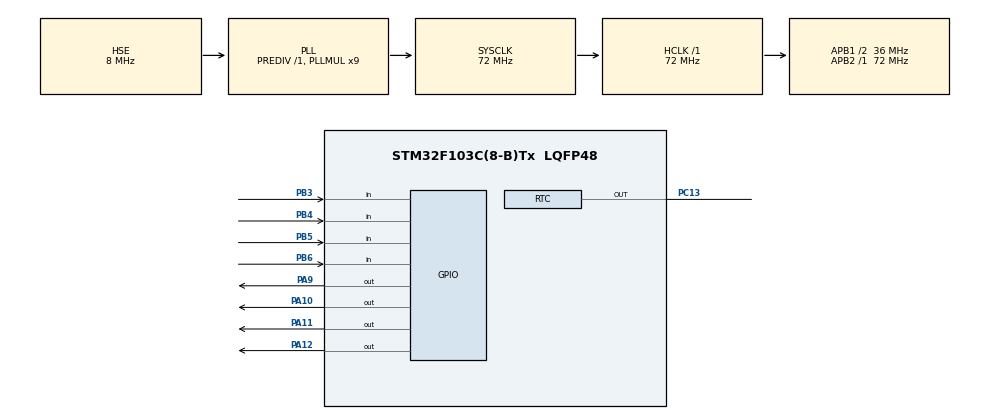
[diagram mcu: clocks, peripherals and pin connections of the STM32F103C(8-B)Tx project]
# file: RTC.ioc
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Mcu.Family=STM32F1
Mcu.Name=STM32F103C(8-B)Tx
Mcu.Package=LQFP48
NVIC.PriorityGroup=NVIC_PRIORITYGROUP_4
PA10.Signal=GPIO_Output
PA11.Signal=GPIO_Output
PA12.Signal=GPIO_Output
PA13.Mode=Serial_Wire
PA13.Signal=SYS_JTMS-SWDIO
PA14.Mode=Serial_Wire
PA14.Signal=SYS_JTCK-SWCLK
PA9.Signal=GPIO_Output
PB3.GPIO_PuPd=GPIO_PULLUP
PB3.Signal=GPIO_Input
PB4.GPIO_PuPd=GPIO_PULLUP
PB4.Signal=GPIO_Input
PB5.GPIO_PuPd=GPIO_PULLUP
PB5.Signal=GPIO_Input
PB6.GPIO_PuPd=GPIO_PULLUP
PB6.Signal=GPIO_Input
PC13-TAMPER-RTC.Mode=RTC OUT
PC13-TAMPER-RTC.Signal=RTC_OUT
PC14-OSC32_IN.Mode=LSE-External-Oscillator
PC14-OSC32_IN.Signal=RCC_OSC32_IN
PC15-OSC32_OUT.Mode=LSE-External-Oscillator
PC15-OSC32_OUT.Signal=RCC_OSC32_OUT
PD0-OSC_IN.Mode=HSE-External-Oscillator
PD0-OSC_IN.Signal=RCC_OSC_IN
PD1-OSC_OUT.Mode=HSE-External-Oscillator
PD1-OSC_OUT.Signal=RCC_OSC_OUT
ProjectManager.HeapSize=0x200
ProjectManager.StackSize=0x400
ProjectManager.TargetToolchain=STM32CubeIDE
RCC.AHBFreq_Value=72000000
RCC.APB1CLKDivider=RCC_HCLK_DIV2
RCC.APB1Freq_Value=36000000
RCC.APB1TimFreq_Value=72000000
RCC.APB2Freq_Value=72000000
RCC.APB2TimFreq_Value=72000000
RCC.HCLKFreq_Value=72000000
RCC.PLLMUL=RCC_PLL_MUL9
RCC.PLLSourceVirtual=RCC_PLLSOURCE_HSE
RCC.RTCClockSelection=RCC_RTCCLKSOURCE_HSE_DIV128
RCC.SYSCLKFreq_VALUE=72000000
RCC.SYSCLKSource=RCC_SYSCLKSOURCE_PLLCLK
RCC.USBFreq_Value=72000000
RTC.AsynchPrediv=RTC_AUTO_1_SECOND
RTC.AutoPrediv=RTC_AUTO_1_SECOND
RTC.Hours=0
RTC.Hours_A-RTC\ OUT=0
RTC.Minutes=0
RTC.Minutes_A-RTC\ OUT=0
VP_RTC_VS_RTC_Activate.Mode=RTC_Enabled
VP_RTC_VS_RTC_Calendar.Mode=RTC_Calendar
board=custom

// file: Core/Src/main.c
/* USER CODE BEGIN Header */
/**
  ******************************************************************************
  * @file           : main.c
  * @brief          : Main program body
  ******************************************************************************
  * @attention
  *
  * Copyright (c) 2023 STMicroelectronics.
  * All rights reserved.
  *
  * This software is licensed under terms that can be found in the LICENSE file
  * in the root directory of this software component.
  * If no LICENSE file comes with this software, it is provided AS-IS.
  *
  ******************************************************************************
  */
/* USER CODE END Header */
#include "main.h"
#include "rtc.h"
#include "gpio.h"

/* USER CODE BEGIN Includes */

#include <stdio.h>
#include "RCC_interface.h"
#include "GPIO_interface.h"
#include "LCD_interface.h"
#include "KEYPAD_interface.h"

/* USER CODE END Includes */

/* USER CODE BEGIN PM */

RTC_DateTypeDef gDate;
RTC_TimeTypeDef gTime;

uint8_t keypadVal = NOTPRESSED;

extern RCC_Config_t RCC_obj;
extern chr_lcd_4bit_t lcd_1;
extern chr_lcd_4bit_t keypad_1;

char time[10];
char date[10];

volatile int TotalHours=0;
volatile int CurrentSec=0;
volatile int CurrentMin=0;
volatile int TotalDays=0;

volatile uint8_t IntialMinuts = 0x00;
volatile uint8_t IntialSeconds = 0x06;
volatile uint8_t IntialHours = 0;

#define Counter_1	8
#define Counter_2	12

uint16_t ArrayCounter[2][2] = {0};
uint16_t ArrayTimers[2] = {0};
uint16_t ArrayPosition[2] = {Counter_1, Counter_2};

uint16_t TotalCounts=0;
volatile uint16_t FlagDetect=0;

/* USER CODE END PM */

/* USER CODE BEGIN PV */

void set_time (void)
{
    /*
     * Initialize RTC and set the Time and Date
     */
  gTime.Hours = IntialHours;
  gTime.Minutes = IntialMinuts;
  gTime.Seconds = IntialSeconds;

  if (HAL_RTC_SetTime(&hrtc, &gTime, RTC_FORMAT_BCD) != HAL_OK)
  {
    //_Error_Handler(__FILE__, __LINE__);
  }
  /* USER CODE BEGIN RTC_Init 3 */

  /* USER CODE END RTC_Init 3 */

  gDate.WeekDay = RTC_WEEKDAY_TUESDAY;
  gDate.Month = RTC_MONTH_AUGUST;
  gDate.Date = 0x12;
  gDate.Year = 0x0;

  if (HAL_RTC_SetDate(&hrtc, &gDate, RTC_FORMAT_BCD) != HAL_OK)
  {
    //_Error_Handler(__FILE__, __LINE__);
  }
  /* USER CODE BEGIN RTC_Init 4 */

  HAL_RTCEx_BKUPWrite(&hrtc, RTC_BKP_DR1, 0x32F2);  // backup register

  /* USER CODE END RTC_Init 4 */
}

void LcdUpdate()
{
	LCD_Clear(&lcd_1);
	HAL_Delay(10);
	LCD_WriteNumber_Position(TotalCounts,1,4);
	HAL_Delay(10);
	for(int i=0 ; i<2 ; i++)
	{
		LCD_WriteNumber_Position(ArrayTimers[i], 1, ArrayPosition[i]);
	}
}

void MinDetect()
{
	for(int i=0 ; i<2 ; i++)
	{
		if( ( CurrentSec-1 == ArrayCounter[i][1]) && FlagDetect==0 )
		{
			ArrayTimers[i]--;
			FlagDetect=1;
			LcdUpdate();
		}
	}

	if((CurrentSec == ArrayCounter[0][1]) || (CurrentSec == ArrayCounter[1][1]) || CurrentSec==1)
		FlagDetect=0;

	if(CurrentSec == 59 && FlagDetect==0)
	{
		TotalCounts++;
		FlagDetect=1;
		LcdUpdate();
	}

	//LCD_WriteNumber_Position(CurrentMin,1,5);
	//LCD_WriteNumber_Position(CurrentSec,2,5);

}

void get_time(void)
{
  HAL_RTC_GetTime(&hrtc, &gTime, RTC_FORMAT_BIN);
  CurrentSec = gTime.Seconds;
  CurrentMin = gTime.Minutes;
}

uint16_t GetKeypadValue()
{
	uint16_t retVal = 0;
	keypadVal = NOTPRESSED;

	while(keypadVal != '*')
	{
		keypadVal = read_keypad(&keypad_1);
		if(keypadVal>='0' && keypadVal<='9')
		{
			lcd_4bit_send_char_data(&lcd_1, keypadVal);
			retVal = ((keypadVal - '0') + (retVal * 10));
			keypadVal = NOTPRESSED;
		}
	}

	keypadVal = NOTPRESSED;
	return retVal;
}

/* USER CODE END PV */

void SystemClock_Config(void);

int main(void)
{

  /* MCU Configuration--------------------------------------------------------*/

  /* Reset of all peripherals, Initializes the Flash interface and the Systick. */
  HAL_Init();

  /* Configure the system clock */
  SystemClock_Config();

  /* Initialize all configured peripherals */
  MX_GPIO_Init();
  MX_RTC_Init();
  /* USER CODE BEGIN 2 */

	MRCC_voidPeripheralClockEnable(RCC_APB2_BUS , RCC_GPIOA_CLOCK);
	MRCC_voidPeripheralClockEnable(RCC_APB2_BUS , RCC_GPIOB_CLOCK);
	set_time();

	lcd_4bit_intialize(&lcd_1);

	ArrayCounter[0][0] = gTime.Minutes;
	ArrayCounter[0][1] = gTime.Seconds+2;
	ArrayCounter[1][0] = gTime.Minutes;
	ArrayCounter[1][1] = gTime.Seconds+4;

	LCD_Clear(&lcd_1);
	lcd_4bit_send_string_pos(&lcd_1, 1, 2, "Intial Timer 1:");
	ArrayTimers[0] = GetKeypadValue();

	LCD_Clear(&lcd_1);
	lcd_4bit_send_string_pos(&lcd_1, 1, 2, "Intial Timer 2:");
	ArrayTimers[1] = GetKeypadValue();

	LcdUpdate();

  /* USER CODE END 2 */

  /* Infinite loop */
  while (1)
  {

    /* USER CODE BEGIN 3 */

	 get_time();
	 MinDetect();

  }
  /* USER CODE END 3 */
}

void SystemClock_Config(void)
{
  RCC_OscInitTypeDef RCC_OscInitStruct = {0};
  RCC_ClkInitTypeDef RCC_ClkInitStruct = {0};
  RCC_PeriphCLKInitTypeDef PeriphClkInit = {0};

  /** Initializes the RCC Oscillators according to the specified parameters
  * in the RCC_OscInitTypeDef structure.
  */
  RCC_OscInitStruct.OscillatorType = RCC_OSCILLATORTYPE_HSE;
  RCC_OscInitStruct.HSEState = RCC_HSE_ON;
  RCC_OscInitStruct.HSEPredivValue = RCC_HSE_PREDIV_DIV1;
  RCC_OscInitStruct.HSIState = RCC_HSI_ON;
  RCC_OscInitStruct.PLL.PLLState = RCC_PLL_ON;
  RCC_OscInitStruct.PLL.PLLSource = RCC_PLLSOURCE_HSE;
  RCC_OscInitStruct.PLL.PLLMUL = RCC_PLL_MUL9;
  if (HAL_RCC_OscConfig(&RCC_OscInitStruct) != HAL_OK)
  {
    Error_Handler();
  }

  /** Initializes the CPU, AHB and APB buses clocks
  */
  RCC_ClkInitStruct.ClockType = RCC_CLOCKTYPE_HCLK|RCC_CLOCKTYPE_SYSCLK
                              |RCC_CLOCKTYPE_PCLK1|RCC_CLOCKTYPE_PCLK2;
  RCC_ClkInitStruct.SYSCLKSource = RCC_SYSCLKSOURCE_PLLCLK;
  RCC_ClkInitStruct.AHBCLKDivider = RCC_SYSCLK_DIV1;
  RCC_ClkInitStruct.APB1CLKDivider = RCC_HCLK_DIV2;
  RCC_ClkInitStruct.APB2CLKDivider = RCC_HCLK_DIV1;

  if (HAL_RCC_ClockConfig(&RCC_ClkInitStruct, FLASH_LATENCY_2) != HAL_OK)
  {
    Error_Handler();
  }
  PeriphClkInit.PeriphClockSelection = RCC_PERIPHCLK_RTC;
  PeriphClkInit.RTCClockSelection = RCC_RTCCLKSOURCE_HSE_DIV128;
  if (HAL_RCCEx_PeriphCLKConfig(&PeriphClkInit) != HAL_OK)
  {
    Error_Handler();
  }
}

void Error_Handler(void)
{
  __disable_irq();
  while (1)
  {
  }
}
